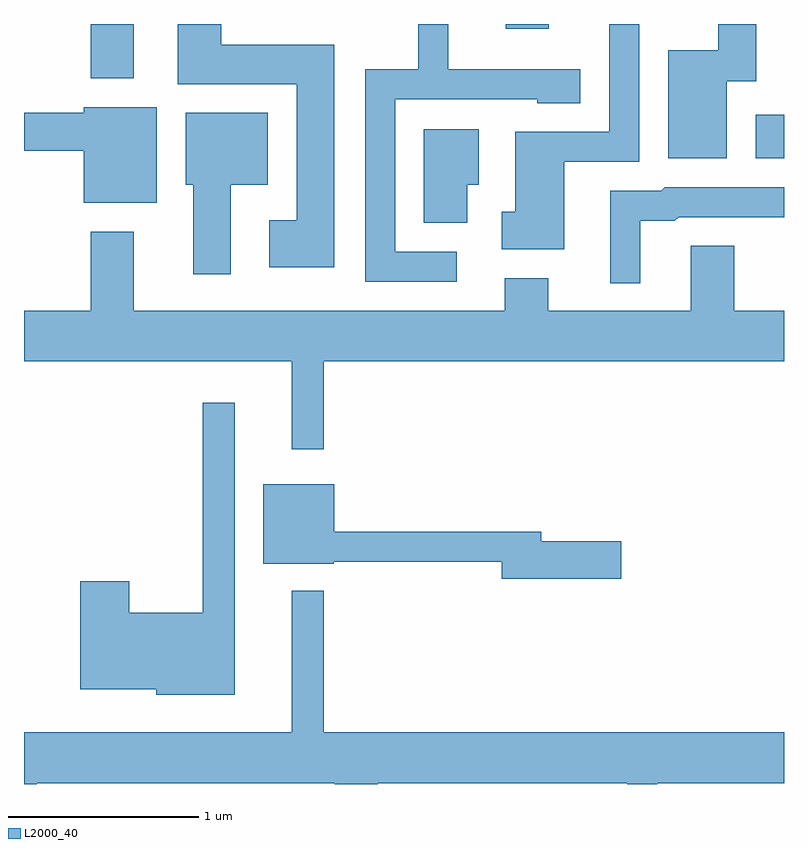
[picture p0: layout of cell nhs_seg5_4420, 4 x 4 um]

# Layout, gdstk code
import gdstk
lib = gdstk.Library(unit=1e-6, precision=1e-09)
def R(c, l, rs):  # rectangles x0, y0, x1, y1
    for r in rs: c.add(gdstk.rectangle(r[:2], r[2:], *l))
def P(c, l, *ps):  # polygons
    for p in ps: c.add(gdstk.Polygon(p, *l))
L2000_40 = (2000, 40)

nhs_seg5_4420 = lib.new_cell('nhs_seg5_4420')
R(nhs_seg5_4420, L2000_40, [(319.461,1513.366,319.611,1513.594), (315.961,1513.786,316.189,1514.072), (318.146,1514.046,318.374,1514.072)])
P(nhs_seg5_4420, L2000_40, [(318.454,1513.346),(318.849,1513.346),(318.849,1514.072),(318.691,1514.072),(318.691,1513.504),(318.196,1513.504),(318.196,1513.084),(318.126,1513.084),(318.126,1512.886),(318.454,1512.886)],
  [(317.244,1513.964),(316.649,1513.964),(316.649,1514.072),(316.421,1514.072),(316.421,1513.756),(317.046,1513.756),(317.046,1513.039),(316.901,1513.039),(316.901,1512.791),(317.244,1512.791)],
  [(317.888,1512.874),(317.564,1512.874),(317.564,1513.676),(318.311,1513.676),(318.311,1513.656),(318.539,1513.656),(318.539,1513.834),(317.844,1513.834),(317.844,1514.072),(317.686,1514.072),(317.686,1513.834),(317.406,1513.834),(317.406,1512.716),(317.888,1512.716)],
  [(319.309,1513.771),(319.464,1513.771),(319.464,1514.072),(319.266,1514.072),(319.266,1513.934),(319.001,1513.934),(319.001,1513.366),(319.309,1513.366)],
  [(316.309,1513.634),(315.926,1513.634),(315.926,1513.604),(315.611,1513.604),(315.611,1513.406),(315.926,1513.406),(315.926,1513.131),(316.309,1513.131)],
  [(316.699,1513.226),(316.894,1513.226),(316.894,1513.604),(316.461,1513.604),(316.461,1513.226),(316.501,1513.226),(316.501,1512.756),(316.699,1512.756)],
  [(317.944,1513.226),(318.004,1513.226),(318.004,1513.519),(317.716,1513.519),(317.716,1513.026),(317.944,1513.026)],
  [(318.854,1513.036),(319.037,1513.036),(319.057,1513.056),(319.611,1513.056),(319.611,1513.214),(318.984,1513.214),(318.964,1513.194),(318.696,1513.194),(318.696,1512.708),(318.854,1512.708)],
  [(316.189,1512.979),(315.961,1512.979),(315.961,1512.564),(315.611,1512.564),(315.611,1512.296),(317.021,1512.296),(317.021,1511.833),(317.189,1511.833),(317.189,1512.296),(319.611,1512.296),(319.611,1512.564),(319.349,1512.564),(319.349,1512.904),(319.121,1512.904),(319.121,1512.564),(318.369,1512.564),(318.369,1512.734),(318.141,1512.734),(318.141,1512.564),(316.189,1512.564)],
  [(316.719,1512.078),(316.551,1512.078),(316.551,1510.974),(316.164,1510.974),(316.164,1511.139),(315.906,1511.139),(315.906,1510.571),(316.306,1510.571),(316.306,1510.541),(316.719,1510.541)],
  [(318.754,1511.349),(318.334,1511.349),(318.334,1511.399),(317.244,1511.399),(317.244,1511.649),(316.871,1511.649),(316.871,1511.231),(317.24,1511.231),(317.24,1511.241),(318.126,1511.241),(318.126,1511.151),(318.754,1511.151)],
  [(315.679,1510.076),(317.246,1510.076),(317.246,1510.072),(317.474,1510.072),(317.474,1510.076),(318.786,1510.076),(318.786,1510.072),(318.944,1510.072),(318.944,1510.076),(319.611,1510.076),(319.611,1510.344),(317.189,1510.344),(317.189,1511.088),(317.021,1511.088),(317.021,1510.344),(315.611,1510.344),(315.611,1510.072),(315.679,1510.072)])

lib.write_gds('nhs_seg5_4420.gds')
